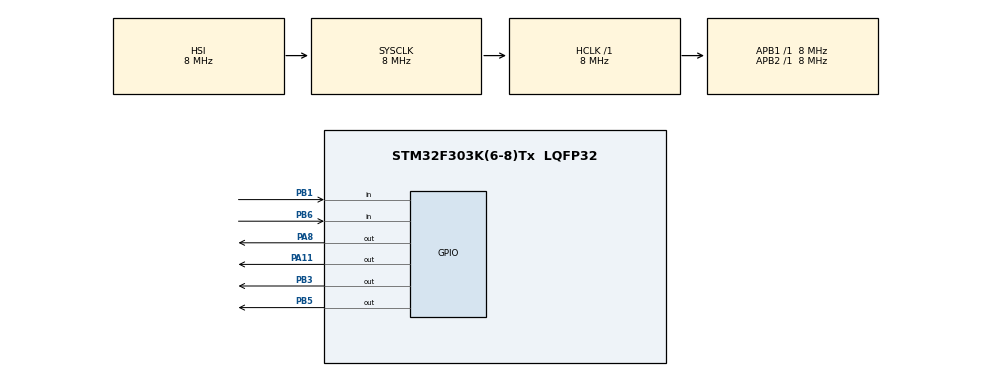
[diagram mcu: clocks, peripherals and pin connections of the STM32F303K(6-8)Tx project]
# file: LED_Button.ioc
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Mcu.Family=STM32F3
Mcu.Name=STM32F303K(6-8)Tx
Mcu.Package=LQFP32
NVIC.PriorityGroup=NVIC_PRIORITYGROUP_4
PA11.Signal=GPIO_Output
PA8.Signal=GPIO_Output
PB1.Signal=GPIO_Input
PB3.Signal=GPIO_Output
PB5.Signal=GPIO_Output
PB6.Signal=GPIO_Input
PF0\ /\ OSC_IN.Mode=HSE-External-Oscillator
PF0\ /\ OSC_IN.Signal=RCC_OSC_IN
PF1\ /\ OSC_OUT.Mode=HSE-External-Oscillator
PF1\ /\ OSC_OUT.Signal=RCC_OSC_OUT
ProjectManager.HeapSize=0x200
ProjectManager.StackSize=0x400
ProjectManager.TargetToolchain=STM32CubeIDE
RCC.AHBFreq_Value=8000000
RCC.APB1Freq_Value=8000000
RCC.APB1TimCLKDivider=1
RCC.APB1TimFreq_Value=8000000
RCC.APB2Freq_Value=8000000
RCC.APB2TimFreq_Value=8000000
RCC.CortexFreq_Value=8000000
RCC.HCLKFreq_Value=8000000
RCC.HSE_VALUE=8000000
RCC.HSI_VALUE=8000000
RCC.SYSCLKFreq_VALUE=8000000
board=custom

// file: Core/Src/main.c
/* USER CODE BEGIN Header */
/**
  ******************************************************************************
  * @file           : main.c
  * @brief          : Main program body
  ******************************************************************************
  * @attention
  *
  * Copyright (c) 2022 STMicroelectronics.
  * All rights reserved.
  *
  * This software is licensed under terms that can be found in the LICENSE file
  * in the root directory of this software component.
  * If no LICENSE file comes with this software, it is provided AS-IS.
  *
  ******************************************************************************
  */
/* USER CODE END Header */
#include "main.h"

void SystemClock_Config(void);
static void MX_GPIO_Init(void);

int main(void)
{

  /* MCU Configuration--------------------------------------------------------*/

  /* Reset of all peripherals, Initializes the Flash interface and the Systick. */
  HAL_Init();

  /* Configure the system clock */
  SystemClock_Config();

  /* Initialize all configured peripherals */
  MX_GPIO_Init();

  /* Infinite loop */
  /* USER CODE BEGIN WHILE */
  while (1)
  {
   // IF Button Is Pressed
   if(HAL_GPIO_ReadPin (GPIOB, GPIO_PIN_6)){
       // Set The LED ON!
       HAL_GPIO_WritePin(GPIOA, GPIO_PIN_8, GPIO_PIN_SET);
       HAL_Delay(500);
       HAL_GPIO_WritePin(GPIOA, GPIO_PIN_11, GPIO_PIN_SET);
       HAL_Delay(500);
       HAL_GPIO_WritePin(GPIOB, GPIO_PIN_5, GPIO_PIN_SET);
       HAL_Delay(500);

   }
   else if(HAL_GPIO_ReadPin (GPIOB, GPIO_PIN_1)){
       HAL_GPIO_WritePin(GPIOB, GPIO_PIN_3, GPIO_PIN_SET);
       HAL_Delay(100);
       HAL_GPIO_WritePin(GPIOB, GPIO_PIN_3, GPIO_PIN_RESET);
       HAL_Delay(100);
       HAL_GPIO_WritePin(GPIOB, GPIO_PIN_3, GPIO_PIN_SET);
       HAL_Delay(100);
       HAL_GPIO_WritePin(GPIOB, GPIO_PIN_3, GPIO_PIN_RESET);
       HAL_Delay(100);
       HAL_GPIO_WritePin(GPIOB, GPIO_PIN_3, GPIO_PIN_SET);
       HAL_Delay(100);
       HAL_GPIO_WritePin(GPIOB, GPIO_PIN_3, GPIO_PIN_RESET);
       HAL_Delay(100);

   } else {
	   HAL_GPIO_WritePin(GPIOA, GPIO_PIN_8, GPIO_PIN_RESET);
       HAL_GPIO_WritePin(GPIOA, GPIO_PIN_11, GPIO_PIN_RESET);
       HAL_GPIO_WritePin(GPIOB, GPIO_PIN_5, GPIO_PIN_RESET);
   }
    /* USER CODE END WHILE */

  }
}

void SystemClock_Config(void)
{
  RCC_OscInitTypeDef RCC_OscInitStruct = {0};
  RCC_ClkInitTypeDef RCC_ClkInitStruct = {0};

  /** Initializes the RCC Oscillators according to the specified parameters
  * in the RCC_OscInitTypeDef structure.
  */
  RCC_OscInitStruct.OscillatorType = RCC_OSCILLATORTYPE_HSI;
  RCC_OscInitStruct.HSIState = RCC_HSI_ON;
  RCC_OscInitStruct.HSICalibrationValue = RCC_HSICALIBRATION_DEFAULT;
  RCC_OscInitStruct.PLL.PLLState = RCC_PLL_NONE;
  if (HAL_RCC_OscConfig(&RCC_OscInitStruct) != HAL_OK)
  {
    Error_Handler();
  }

  /** Initializes the CPU, AHB and APB buses clocks
  */
  RCC_ClkInitStruct.ClockType = RCC_CLOCKTYPE_HCLK|RCC_CLOCKTYPE_SYSCLK
                              |RCC_CLOCKTYPE_PCLK1|RCC_CLOCKTYPE_PCLK2;
  RCC_ClkInitStruct.SYSCLKSource = RCC_SYSCLKSOURCE_HSI;
  RCC_ClkInitStruct.AHBCLKDivider = RCC_SYSCLK_DIV1;
  RCC_ClkInitStruct.APB1CLKDivider = RCC_HCLK_DIV1;
  RCC_ClkInitStruct.APB2CLKDivider = RCC_HCLK_DIV1;

  if (HAL_RCC_ClockConfig(&RCC_ClkInitStruct, FLASH_LATENCY_0) != HAL_OK)
  {
    Error_Handler();
  }
}

static void MX_GPIO_Init(void)
{
  GPIO_InitTypeDef GPIO_InitStruct = {0};

  /* GPIO Ports Clock Enable */
  __HAL_RCC_GPIOF_CLK_ENABLE();
  __HAL_RCC_GPIOB_CLK_ENABLE();
  __HAL_RCC_GPIOA_CLK_ENABLE();

  /*Configure GPIO pin Output Level */
  HAL_GPIO_WritePin(GPIOA, GPIO_PIN_8|GPIO_PIN_11, GPIO_PIN_RESET);

  /*Configure GPIO pin Output Level */
  HAL_GPIO_WritePin(GPIOB, GPIO_PIN_3|GPIO_PIN_5, GPIO_PIN_RESET);

  /*Configure GPIO pins : PB1 PB6 */
  GPIO_InitStruct.Pin = GPIO_PIN_1|GPIO_PIN_6;
  GPIO_InitStruct.Mode = GPIO_MODE_INPUT;
  GPIO_InitStruct.Pull = GPIO_NOPULL;
  HAL_GPIO_Init(GPIOB, &GPIO_InitStruct);

  /*Configure GPIO pins : PA8 PA11 */
  GPIO_InitStruct.Pin = GPIO_PIN_8|GPIO_PIN_11;
  GPIO_InitStruct.Mode = GPIO_MODE_OUTPUT_PP;
  GPIO_InitStruct.Pull = GPIO_NOPULL;
  GPIO_InitStruct.Speed = GPIO_SPEED_FREQ_LOW;
  HAL_GPIO_Init(GPIOA, &GPIO_InitStruct);

  /*Configure GPIO pins : PB3 PB5 */
  GPIO_InitStruct.Pin = GPIO_PIN_3|GPIO_PIN_5;
  GPIO_InitStruct.Mode = GPIO_MODE_OUTPUT_PP;
  GPIO_InitStruct.Pull = GPIO_NOPULL;
  GPIO_InitStruct.Speed = GPIO_SPEED_FREQ_LOW;
  HAL_GPIO_Init(GPIOB, &GPIO_InitStruct);

}

void Error_Handler(void)
{
  __disable_irq();
  while (1)
  {
  }
}
